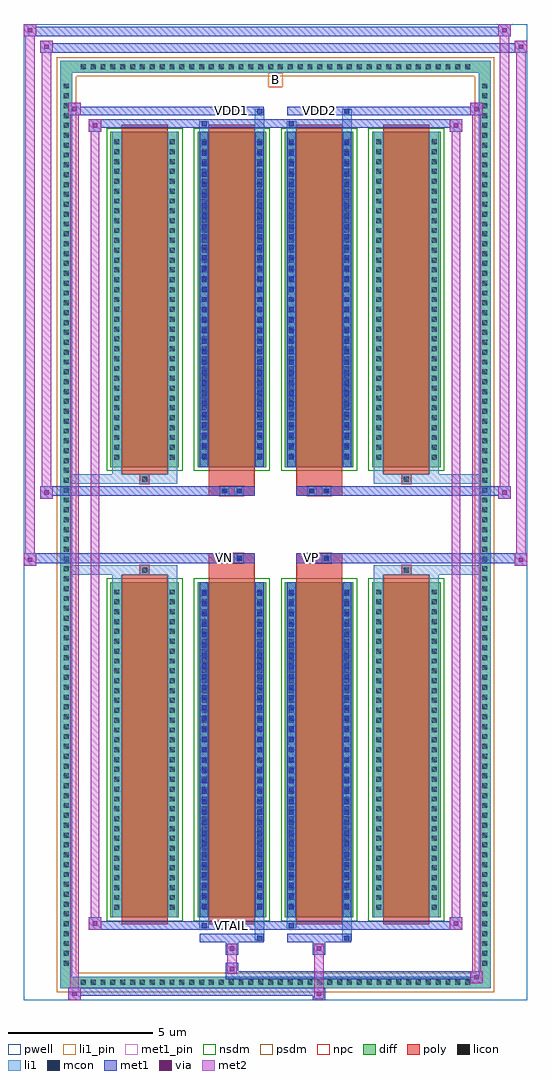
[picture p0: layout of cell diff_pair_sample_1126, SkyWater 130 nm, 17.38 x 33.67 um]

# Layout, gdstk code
import gdstk
lib = gdstk.Library(unit=1e-6, precision=5e-09)
def R(c, l, rs):  # rectangles x0, y0, x1, y1
    for r in rs: c.add(gdstk.rectangle(r[:2], r[2:], *l))
def A(c, l, x, y, w, h, nx, ny, dx, dy):  # array of equal rectangles
    R(c, l, [(x+i*dx, y+j*dy, x+i*dx+w, y+j*dy+h) for i in range(nx) for j in range(ny)])
def P(c, l, *ps):  # polygons
    for p in ps: c.add(gdstk.Polygon(p, *l))
pwell = (64, 44)
diff = (65, 20)
poly = (66, 20)
licon = (66, 44)
li1_pin = (67, 16)
li1 = (67, 20)
mcon = (67, 44)
met1_pin = (68, 16)
met1 = (68, 20)
via = (68, 44)
met2 = (69, 20)
nsdm = (93, 44)
psdm = (94, 20)
npc = (95, 20)

diff_pair_sample_1126 = lib.new_cell('diff_pair_sample_1126')
R(diff_pair_sample_1126, pwell, [(-8.69,-16.4,8.69,17.27), (-6.01,-14.59,-0.01,-0.795), (0.01,-14.59,6.01,-0.795), (-6.01,0.795,-0.01,14.59), (0.01,0.795,6.01,14.59)])
A(diff_pair_sample_1126, diff, -6.835, -16, 0.41, 0.41, 40, 2, 0.34, 31.59)
A(diff_pair_sample_1126, diff, -7.42, -15.335, 0.41, 0.41, 1, 90, 0, 0.34)
A(diff_pair_sample_1126, diff, 7.01, -15.335, 0.41, 0.41, 1, 90, 0, 0.34)
A(diff_pair_sample_1126, diff, -5.7, -13.545, 2.37, 11.56, 4, 2, 3.01, 15.53)
R(diff_pair_sample_1126, diff, [(-6.835,-16,6.835,-15.59), (-7.42,-15.335,-7.01,15.335), (7.01,-15.335,7.42,15.335), (-6.835,15.59,6.835,16)])
P(diff_pair_sample_1126, diff, [(7.42,16),(-7.42,16),(-7.42,-15.59),(-7.01,-15.59),(-7.01,15.59),(7.01,15.59),(7.01,-15.59),(-7.01,-15.59),(-7.42,-15.59),(-7.42,-16),(7.42,-16)])
A(diff_pair_sample_1126, poly, -5.31, -13.795, 1.59, 12.06, 4, 2, 3.01, 15.53)
R(diff_pair_sample_1126, poly, [(-4.68,-1.735,-4.35,-1.405), (-4.68,-1.735,-4.35,-1.405), (-2.3,-1.735,-0.71,-1.325), (0.71,-1.735,2.3,-1.325), (4.35,-1.735,4.68,-1.405), (4.35,-1.735,4.68,-1.405), (-2.3,-1.325,-0.71,-0.995), (-1.92,-1.325,-1.59,-0.995), (-1.42,-1.325,-1.09,-0.995), (0.71,-1.325,2.3,-0.995), (1.09,-1.325,1.42,-0.995), (1.59,-1.325,1.92,-0.995), (-2.3,0.995,-0.71,1.325), (-1.92,0.995,-1.59,1.325), (-1.42,0.995,-1.09,1.325), (0.71,0.995,2.3,1.325), (1.09,0.995,1.42,1.325), (1.59,0.995,1.92,1.325), (-2.3,1.325,-0.71,1.735), (0.71,1.325,2.3,1.735), (-4.68,1.405,-4.35,1.735), (-4.68,1.405,-4.35,1.735), (4.35,1.405,4.68,1.735), (4.35,1.405,4.68,1.735)])
A(diff_pair_sample_1126, licon, -6.715, -15.88, 0.17, 0.17, 40, 2, 0.34, 31.59)
A(diff_pair_sample_1126, licon, -7.3, -15.215, 0.17, 0.17, 1, 90, 0, 0.34)
A(diff_pair_sample_1126, licon, 7.13, -15.215, 0.17, 0.17, 1, 90, 0, 0.34)
A(diff_pair_sample_1126, licon, -5.56, -13.29, 0.17, 0.17, 1, 33, 0, 0.34)
A(diff_pair_sample_1126, licon, -3.64, -13.29, 0.17, 0.17, 1, 33, 0, 0.34)
A(diff_pair_sample_1126, licon, -2.55, -13.29, 0.17, 0.17, 1, 33, 0, 0.34)
A(diff_pair_sample_1126, licon, -0.63, -13.29, 0.17, 0.17, 1, 33, 0, 0.34)
A(diff_pair_sample_1126, licon, 0.46, -13.29, 0.17, 0.17, 1, 33, 0, 0.34)
A(diff_pair_sample_1126, licon, 2.38, -13.29, 0.17, 0.17, 1, 33, 0, 0.34)
A(diff_pair_sample_1126, licon, 3.47, -13.29, 0.17, 0.17, 1, 33, 0, 0.34)
A(diff_pair_sample_1126, licon, 5.39, -13.29, 0.17, 0.17, 1, 33, 0, 0.34)
A(diff_pair_sample_1126, licon, -5.56, 2.24, 0.17, 0.17, 1, 33, 0, 0.34)
A(diff_pair_sample_1126, licon, -3.64, 2.24, 0.17, 0.17, 1, 33, 0, 0.34)
A(diff_pair_sample_1126, licon, -2.55, 2.24, 0.17, 0.17, 1, 33, 0, 0.34)
A(diff_pair_sample_1126, licon, -0.63, 2.24, 0.17, 0.17, 1, 33, 0, 0.34)
A(diff_pair_sample_1126, licon, 0.46, 2.24, 0.17, 0.17, 1, 33, 0, 0.34)
A(diff_pair_sample_1126, licon, 2.38, 2.24, 0.17, 0.17, 1, 33, 0, 0.34)
A(diff_pair_sample_1126, licon, 3.47, 2.24, 0.17, 0.17, 1, 33, 0, 0.34)
A(diff_pair_sample_1126, licon, 5.39, 2.24, 0.17, 0.17, 1, 33, 0, 0.34)
R(diff_pair_sample_1126, licon, [(-4.6,-1.655,-4.43,-1.485), (4.43,-1.655,4.6,-1.485), (-1.84,-1.245,-1.67,-1.075), (-1.34,-1.245,-1.17,-1.075), (1.17,-1.245,1.34,-1.075), (1.67,-1.245,1.84,-1.075), (-1.84,1.075,-1.67,1.245), (-1.34,1.075,-1.17,1.245), (1.17,1.075,1.34,1.245), (1.67,1.075,1.84,1.245), (-4.6,1.485,-4.43,1.655), (4.43,1.485,4.6,1.655)])
R(diff_pair_sample_1126, li1_pin, [(-0.25,15.09,0.25,15.59)])
A(diff_pair_sample_1126, li1, -6.795, -15.96, 0.33, 0.33, 40, 2, 0.34, 31.59)
A(diff_pair_sample_1126, li1, -7.38, -15.295, 0.33, 0.33, 1, 90, 0, 0.34)
A(diff_pair_sample_1126, li1, 7.05, -15.295, 0.33, 0.33, 1, 90, 0, 0.34)
A(diff_pair_sample_1126, li1, -5.64, -13.37, 0.33, 0.33, 1, 33, 0, 0.34)
A(diff_pair_sample_1126, li1, -3.72, -13.37, 0.33, 0.33, 1, 33, 0, 0.34)
A(diff_pair_sample_1126, li1, -2.63, -13.37, 0.33, 0.33, 1, 33, 0, 0.34)
A(diff_pair_sample_1126, li1, -0.71, -13.37, 0.33, 0.33, 1, 33, 0, 0.34)
A(diff_pair_sample_1126, li1, 0.38, -13.37, 0.33, 0.33, 1, 33, 0, 0.34)
A(diff_pair_sample_1126, li1, 2.3, -13.37, 0.33, 0.33, 1, 33, 0, 0.34)
A(diff_pair_sample_1126, li1, 3.39, -13.37, 0.33, 0.33, 1, 33, 0, 0.34)
A(diff_pair_sample_1126, li1, 5.31, -13.37, 0.33, 0.33, 1, 33, 0, 0.34)
A(diff_pair_sample_1126, li1, -2.55, -13.25, 0.17, 0.17, 1, 31, 0, 0.36)
A(diff_pair_sample_1126, li1, -0.63, -13.25, 0.17, 0.17, 1, 31, 0, 0.36)
A(diff_pair_sample_1126, li1, 0.46, -13.25, 0.17, 0.17, 1, 31, 0, 0.36)
A(diff_pair_sample_1126, li1, 2.38, -13.25, 0.17, 0.17, 1, 31, 0, 0.36)
A(diff_pair_sample_1126, li1, -5.64, 2.16, 0.33, 0.33, 1, 33, 0, 0.34)
A(diff_pair_sample_1126, li1, -3.72, 2.16, 0.33, 0.33, 1, 33, 0, 0.34)
A(diff_pair_sample_1126, li1, -2.63, 2.16, 0.33, 0.33, 1, 33, 0, 0.34)
A(diff_pair_sample_1126, li1, -0.71, 2.16, 0.33, 0.33, 1, 33, 0, 0.34)
A(diff_pair_sample_1126, li1, 0.38, 2.16, 0.33, 0.33, 1, 33, 0, 0.34)
A(diff_pair_sample_1126, li1, 2.3, 2.16, 0.33, 0.33, 1, 33, 0, 0.34)
A(diff_pair_sample_1126, li1, 3.39, 2.16, 0.33, 0.33, 1, 33, 0, 0.34)
A(diff_pair_sample_1126, li1, 5.31, 2.16, 0.33, 0.33, 1, 33, 0, 0.34)
A(diff_pair_sample_1126, li1, -2.55, 2.28, 0.17, 0.17, 1, 31, 0, 0.36)
A(diff_pair_sample_1126, li1, -0.63, 2.28, 0.17, 0.17, 1, 31, 0, 0.36)
A(diff_pair_sample_1126, li1, 0.46, 2.28, 0.17, 0.17, 1, 31, 0, 0.36)
A(diff_pair_sample_1126, li1, 2.38, 2.28, 0.17, 0.17, 1, 31, 0, 0.36)
R(diff_pair_sample_1126, li1, [(-7.42,-16,-7.01,-15.59), (-7.42,-16,-7.01,-15.59), (-7.01,-16,7.01,-15.59), (7.01,-16,7.42,-15.59), (7.01,-16,7.42,-15.59), (-7.42,-15.59,-7.01,15.59), (7.01,-15.59,7.42,15.59), (-0.71,-14.35,-0.38,-13.545), (-0.63,-14.35,-0.46,-14.18), (2.3,-14.35,2.63,-13.545), (2.38,-14.35,2.55,-14.18), (-2.63,-13.92,-2.3,-13.545), (-2.55,-13.92,-2.38,-13.75), (0.38,-13.92,0.71,-13.545), (0.46,-13.92,0.63,-13.75), (-5.64,-13.545,-5.31,-1.985), (-3.72,-13.545,-3.39,-1.985), (-2.63,-13.545,-2.3,-1.985), (-0.71,-13.545,-0.38,-1.985), (0.38,-13.545,0.71,-1.985), (2.3,-13.545,2.63,-1.985), (3.39,-13.545,3.72,-1.985), (5.31,-13.545,5.64,-1.985), (-2.55,-13.25,-2.38,-2.28), (-0.63,-13.25,-0.46,-2.28), (0.46,-13.25,0.63,-2.28), (2.38,-13.25,2.55,-2.28), (-5.64,-1.985,-5.31,-1.405), (-3.72,-1.985,-3.39,-1.405), (3.39,-1.985,3.72,-1.405), (5.31,-1.985,5.64,-1.405), (-7.42,-1.735,-4.68,-1.405), (-5.64,-1.735,-4.68,-1.405), (-4.68,-1.735,-4.35,-1.405), (-4.35,-1.735,-3.39,-1.405), (3.39,-1.735,4.35,-1.405), (4.35,-1.735,4.68,-1.405), (4.35,-1.735,7.42,-1.405), (4.68,-1.735,5.64,-1.405), (-1.92,-1.325,-1.59,-0.995), (-1.42,-1.325,-1.09,-0.995), (1.09,-1.325,1.42,-0.995), (1.59,-1.325,1.92,-0.995), (-1.92,0.995,-1.59,1.325), (-1.42,0.995,-1.09,1.325), (1.09,0.995,1.42,1.325), (1.59,0.995,1.92,1.325), (-7.42,1.405,-4.68,1.735), (-5.64,1.405,-4.68,1.735), (-5.64,1.405,-5.31,1.985), (-4.68,1.405,-4.35,1.735), (-4.35,1.405,-3.39,1.735), (-3.72,1.405,-3.39,1.985), (3.39,1.405,4.35,1.735), (3.39,1.405,3.72,1.985), (4.35,1.405,4.68,1.735), (4.35,1.405,7.42,1.735), (4.68,1.405,5.64,1.735), (5.31,1.405,5.64,1.985), (-5.64,1.985,-5.31,13.545), (-3.72,1.985,-3.39,13.545), (-2.63,1.985,-2.3,13.545), (-0.71,1.985,-0.38,13.545), (0.38,1.985,0.71,13.545), (2.3,1.985,2.63,13.545), (3.39,1.985,3.72,13.545), (5.31,1.985,5.64,13.545), (-2.55,2.28,-2.38,13.25), (-0.63,2.28,-0.46,13.25), (0.46,2.28,0.63,13.25), (2.38,2.28,2.55,13.25), (-2.63,13.545,-2.3,13.92), (-0.71,13.545,-0.38,14.35), (0.38,13.545,0.71,13.92), (2.3,13.545,2.63,14.35), (-2.55,13.75,-2.38,13.92), (0.46,13.75,0.63,13.92), (-0.63,14.18,-0.46,14.35), (2.38,14.18,2.55,14.35), (-7.42,15.59,-7.01,16), (-7.42,15.59,-7.01,16), (-7.01,15.59,7.01,16), (7.01,15.59,7.42,16), (7.01,15.59,7.42,16)])
A(diff_pair_sample_1126, mcon, -2.55, -13.25, 0.17, 0.17, 1, 31, 0, 0.36)
A(diff_pair_sample_1126, mcon, -0.63, -13.25, 0.17, 0.17, 1, 31, 0, 0.36)
A(diff_pair_sample_1126, mcon, 0.46, -13.25, 0.17, 0.17, 1, 31, 0, 0.36)
A(diff_pair_sample_1126, mcon, 2.38, -13.25, 0.17, 0.17, 1, 31, 0, 0.36)
A(diff_pair_sample_1126, mcon, -2.55, 2.28, 0.17, 0.17, 1, 31, 0, 0.36)
A(diff_pair_sample_1126, mcon, -0.63, 2.28, 0.17, 0.17, 1, 31, 0, 0.36)
A(diff_pair_sample_1126, mcon, 0.46, 2.28, 0.17, 0.17, 1, 31, 0, 0.36)
A(diff_pair_sample_1126, mcon, 2.38, 2.28, 0.17, 0.17, 1, 31, 0, 0.36)
R(diff_pair_sample_1126, mcon, [(-0.63,-14.35,-0.46,-14.18), (2.38,-14.35,2.55,-14.18), (-2.55,-13.92,-2.38,-13.75), (0.46,-13.92,0.63,-13.75), (-1.84,-1.245,-1.67,-1.075), (-1.34,-1.245,-1.17,-1.075), (1.17,-1.245,1.34,-1.075), (1.67,-1.245,1.84,-1.075), (-1.84,1.075,-1.67,1.245), (-1.34,1.075,-1.17,1.245), (1.17,1.075,1.34,1.245), (1.67,1.075,1.84,1.245), (-2.55,13.75,-2.38,13.92), (0.46,13.75,0.63,13.92), (-0.63,14.18,-0.46,14.35), (2.38,14.18,2.55,14.35)])
R(diff_pair_sample_1126, met1_pin, [(-1.64,-13.96,-1.37,-13.69), (-1.89,-1.285,-1.62,-1.015), (1.12,-1.285,1.39,-1.015), (-1.64,14.14,-1.37,14.41), (1.37,14.14,1.64,14.41)])
A(diff_pair_sample_1126, met1, -2.61, -13.31, 0.29, 0.29, 1, 31, 0, 0.36)
A(diff_pair_sample_1126, met1, -0.69, -13.31, 0.29, 0.29, 1, 31, 0, 0.36)
A(diff_pair_sample_1126, met1, 0.4, -13.31, 0.29, 0.29, 1, 31, 0, 0.36)
A(diff_pair_sample_1126, met1, 2.32, -13.31, 0.29, 0.29, 1, 31, 0, 0.36)
A(diff_pair_sample_1126, met1, -2.61, 2.22, 0.29, 0.29, 1, 31, 0, 0.36)
A(diff_pair_sample_1126, met1, -0.69, 2.22, 0.29, 0.29, 1, 31, 0, 0.36)
A(diff_pair_sample_1126, met1, 0.4, 2.22, 0.29, 0.29, 1, 31, 0, 0.36)
A(diff_pair_sample_1126, met1, 2.32, 2.22, 0.29, 0.29, 1, 31, 0, 0.36)
R(diff_pair_sample_1126, met1, [(-7.15,-16.4,-6.72,-15.97), (1.29,-16.4,1.72,-15.97), (-7.15,-16.26,1.72,-15.97), (6.72,-15.83,7.15,-15.4), (-1.72,-15.69,7.15,-15.4), (-1.72,-15.55,-1.29,-15.12), (-1.72,-14.84,-1.29,-14.41), (1.29,-14.84,1.72,-14.41), (-2.61,-14.41,-0.4,-14.12), (-0.69,-14.41,-0.4,-14.12), (0.4,-14.41,2.61,-14.12), (2.32,-14.41,2.61,-14.12), (-6.44,-13.98,-6.01,-13.55), (-6.44,-13.98,-2.61,-13.69), (-2.61,-13.98,-2.32,-13.69), (-2.61,-13.98,-0.4,-13.69), (-0.4,-13.98,0.4,-13.69), (0.4,-13.98,0.69,-13.69), (0.4,-13.98,2.61,-13.69), (2.61,-13.98,6.44,-13.69), (6.01,-13.98,6.44,-13.55), (-2.61,-13.545,-2.32,-1.985), (-0.69,-13.545,-0.4,-1.985), (0.4,-13.545,0.69,-1.985), (2.32,-13.545,2.61,-1.985), (-8.69,-1.425,-8.26,-0.995), (8.26,-1.425,8.69,-0.995), (-8.69,-1.325,-0.71,-0.995), (-2.3,-1.325,-0.71,-0.995), (0.71,-1.325,2.3,-0.995), (0.71,-1.325,8.69,-0.995), (-1.9,-1.305,-1.61,-1.015), (-1.4,-1.305,-1.11,-1.015), (1.11,-1.305,1.4,-1.015), (1.61,-1.305,1.9,-1.015), (-8.12,0.895,-7.69,1.325), (7.69,0.895,8.12,1.325), (-8.12,0.995,-2.3,1.325), (-2.3,0.995,-0.71,1.325), (0.71,0.995,2.3,1.325), (2.3,0.995,8.12,1.325), (-1.9,1.015,-1.61,1.305), (-1.4,1.015,-1.11,1.305), (1.11,1.015,1.4,1.305), (1.61,1.015,1.9,1.305), (-2.61,1.985,-2.32,13.545), (-0.69,1.985,-0.4,13.545), (0.4,1.985,0.69,13.545), (2.32,1.985,2.61,13.545), (-6.44,13.55,-6.01,13.98), (6.01,13.55,6.44,13.98), (-6.44,13.69,-2.61,13.98), (-2.61,13.69,-2.32,13.98), (-2.61,13.69,-0.4,13.98), (-0.4,13.69,0.4,13.98), (0.4,13.69,0.69,13.98), (0.4,13.69,2.61,13.98), (2.61,13.69,6.44,13.98), (-7.15,14.12,-6.72,14.55), (-7.15,14.12,-2.61,14.41), (-2.61,14.12,-0.4,14.41), (-0.69,14.12,-0.4,14.41), (0.4,14.12,2.61,14.41), (2.32,14.12,2.61,14.41), (2.61,14.12,7.15,14.41), (6.72,14.12,7.15,14.55), (-8.12,16.27,-7.69,16.7), (-8.12,16.27,-6.01,16.6), (-6.01,16.27,6.01,16.6), (6.01,16.27,8.69,16.6), (8.26,16.27,8.69,16.7), (-8.69,16.84,-8.26,17.27), (-8.69,16.84,-6.01,17.17), (-6.01,16.84,6.01,17.17), (6.01,16.84,8.12,17.17), (7.69,16.84,8.12,17.27)])
R(diff_pair_sample_1126, via, [(-7.01,-16.26,-6.86,-16.11), (1.43,-16.26,1.58,-16.11), (6.86,-15.69,7.01,-15.54), (-1.58,-15.41,-1.43,-15.26), (-1.58,-14.7,-1.43,-14.55), (1.43,-14.7,1.58,-14.55), (-6.3,-13.84,-6.15,-13.69), (6.15,-13.84,6.3,-13.69), (-8.55,-1.285,-8.4,-1.135), (8.4,-1.285,8.55,-1.135), (-7.98,1.035,-7.83,1.185), (7.83,1.035,7.98,1.185), (-6.3,13.69,-6.15,13.84), (6.15,13.69,6.3,13.84), (-7.01,14.26,-6.86,14.41), (6.86,14.26,7.01,14.41), (-7.98,16.41,-7.83,16.56), (8.4,16.41,8.55,16.56), (-8.55,16.98,-8.4,17.13), (7.83,16.98,7.98,17.13)])
R(diff_pair_sample_1126, met2, [(-7.15,-16.4,-6.72,-15.97), (-7.08,-16.4,-6.79,14.55), (-6.79,-16.4,-6.72,-15.97), (-7.1,-16.35,-6.77,-16.02), (1.34,-16.35,1.67,-16.02), (1.34,-16.02,1.67,-14.79), (6.72,-15.83,7.15,-15.4), (6.79,-15.83,7.08,14.55), (7.08,-15.83,7.15,-15.4), (6.77,-15.78,7.1,-15.45), (-1.67,-15.5,-1.34,-15.17), (-1.67,-15.17,-1.34,-14.79), (-1.67,-14.79,-1.34,-14.46), (1.34,-14.79,1.67,-14.46), (-6.44,-13.98,-6.01,-13.55), (-6.37,-13.98,-6.08,13.98), (-6.08,-13.98,-6.01,-13.55), (6.01,-13.98,6.44,-13.55), (6.08,-13.98,6.37,13.98), (6.37,-13.98,6.44,-13.55), (-6.39,-13.93,-6.06,-13.6), (6.06,-13.93,6.39,-13.6), (-8.69,-1.425,-8.26,-0.995), (-8.64,-1.425,-8.31,17.27), (-8.31,-1.425,-8.26,-0.995), (8.26,-1.425,8.69,-0.995), (8.31,-1.425,8.64,16.7), (8.64,-1.425,8.69,-0.995), (-8.64,-1.375,-8.31,-1.045), (8.31,-1.375,8.64,-1.045), (-8.12,0.895,-7.69,1.325), (-8.07,0.895,-7.74,16.7), (-7.74,0.895,-7.69,1.325), (7.69,0.895,8.12,1.325), (7.74,0.895,8.07,17.27), (8.07,0.895,8.12,1.325), (-8.07,0.945,-7.74,1.275), (7.74,0.945,8.07,1.275), (-6.44,13.55,-6.01,13.98), (-6.08,13.55,-6.01,13.98), (6.01,13.55,6.44,13.98), (6.37,13.55,6.44,13.98), (-6.39,13.6,-6.06,13.93), (6.06,13.6,6.39,13.93), (-7.15,14.12,-6.72,14.55), (-6.79,14.12,-6.72,14.55), (6.72,14.12,7.15,14.55), (7.08,14.12,7.15,14.55), (-7.1,14.17,-6.77,14.5), (6.77,14.17,7.1,14.5), (-8.12,16.27,-7.69,16.7), (-7.74,16.27,-7.69,16.7), (8.26,16.27,8.69,16.7), (8.64,16.27,8.69,16.7), (-8.07,16.32,-7.74,16.65), (8.31,16.32,8.64,16.65), (-8.69,16.84,-8.26,17.27), (-8.31,16.84,-8.26,17.27), (7.69,16.84,8.12,17.27), (8.07,16.84,8.12,17.27), (-8.64,16.89,-8.31,17.22), (7.74,16.89,8.07,17.22)])
A(diff_pair_sample_1126, nsdm, -5.83, -13.675, 2.63, 11.82, 4, 2, 3.01, 15.53)
P(diff_pair_sample_1126, psdm, [(7.55,16.13),(-7.55,16.13),(-7.55,-15.46),(-6.88,-15.46),(-6.88,15.46),(6.88,15.46),(6.88,-15.46),(-6.88,-15.46),(-7.55,-15.46),(-7.55,-16.13),(7.55,-16.13)])
R(diff_pair_sample_1126, npc, [(-4.7,-1.755,-4.33,-1.385), (4.33,-1.755,4.7,-1.385), (-1.94,-1.345,-1.57,-0.975), (-1.94,-1.345,-1.07,-0.975), (-1.94,-1.345,-1.07,-0.975), (-1.44,-1.345,-1.07,-0.975), (1.07,-1.345,1.44,-0.975), (1.07,-1.345,1.94,-0.975), (1.07,-1.345,1.94,-0.975), (1.57,-1.345,1.94,-0.975), (-1.94,0.975,-1.57,1.345), (-1.94,0.975,-1.07,1.345), (-1.94,0.975,-1.07,1.345), (-1.44,0.975,-1.07,1.345), (1.07,0.975,1.44,1.345), (1.07,0.975,1.94,1.345), (1.07,0.975,1.94,1.345), (1.57,0.975,1.94,1.345), (-4.7,1.385,-4.33,1.755), (4.33,1.385,4.7,1.755)])
diff_pair_sample_1126.add(gdstk.Label('VTAIL', (-1.505,-13.825), layer=68, texttype=5))
diff_pair_sample_1126.add(gdstk.Label('VN', (-1.755,-1.15), layer=68, texttype=5))
diff_pair_sample_1126.add(gdstk.Label('VP', (1.255,-1.15), layer=68, texttype=5))
diff_pair_sample_1126.add(gdstk.Label('B', (0,15.34), layer=67, texttype=5))
diff_pair_sample_1126.add(gdstk.Label('VDD2', (1.505,14.275), layer=68, texttype=5))
diff_pair_sample_1126.add(gdstk.Label('VDD1', (-1.505,14.275), layer=68, texttype=5))

lib.write_gds('diff_pair_sample_1126.gds')
